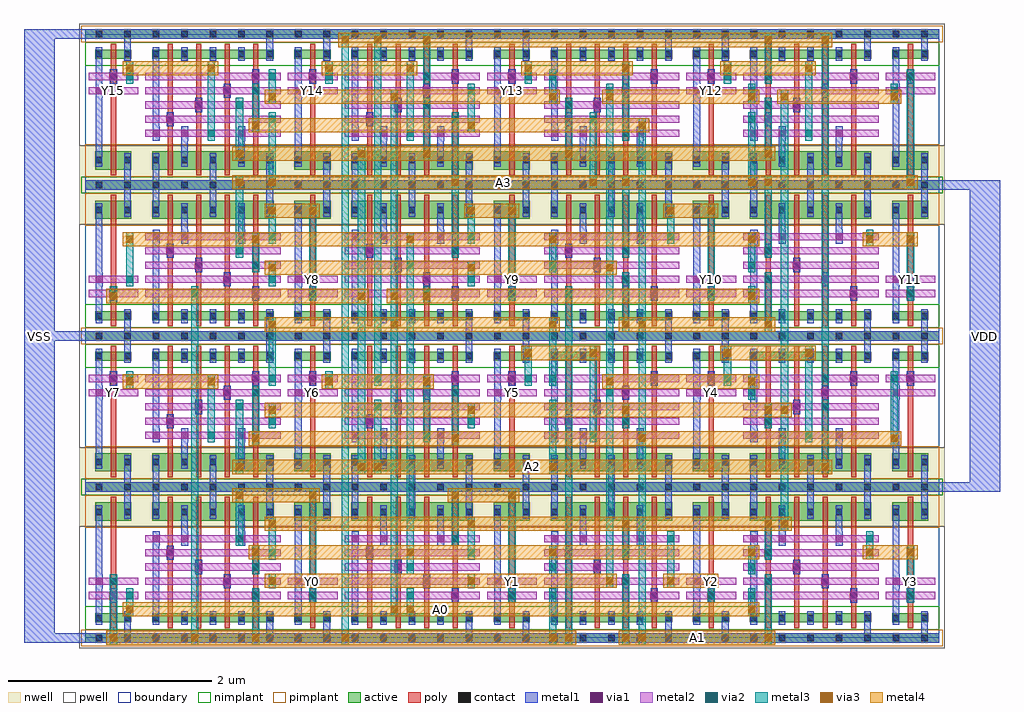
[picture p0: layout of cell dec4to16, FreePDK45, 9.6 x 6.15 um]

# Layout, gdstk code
import gdstk
lib = gdstk.Library(unit=1e-6, precision=5e-10)
def R(c, l, rs):  # rectangles x0, y0, x1, y1
    for r in rs: c.add(gdstk.rectangle(r[:2], r[2:], *l))
def A(c, l, x, y, w, h, nx, ny, dx, dy):  # array of equal rectangles
    R(c, l, [(x+i*dx, y+j*dy, x+i*dx+w, y+j*dy+h) for i in range(nx) for j in range(ny)])
active = (1, 0)
pwell = (2, 0)
nwell = (3, 0)
nimplant = (4, 0)
pimplant = (5, 0)
poly = (9, 0)
contact = (10, 0)
metal1 = (11, 0)
via1 = (12, 0)
metal2 = (13, 0)
via2 = (14, 0)
metal3 = (15, 0)
via3 = (16, 0)
metal4 = (17, 0)
boundary = (235, 0)

inv = lib.new_cell('inv')
R(inv, active, [(0,-0.05,0.56,0.045), (0.1,0.15,0.455,0.24), (0.1,1.15,0.455,1.33), (0,1.435,0.56,1.53)])
R(inv, pwell, [(-0.055,-0.105,0.615,1.095)])
R(inv, nwell, [(-0.055,1.095,0.615,1.585)])
R(inv, nimplant, [(0,0.08,0.56,0.31), (-0.035,1.4,0.595,1.565)])
R(inv, pimplant, [(-0.035,-0.085,0.595,0.08), (0,1.08,0.56,1.4)])
R(inv, poly, [(0.255,0.095,0.305,0.295), (0.255,0.295,0.305,1.095), (0.24,0.375,0.315,0.45), (0.255,1.095,0.305,1.385)])
R(inv, contact, [(0.105,-0.035,0.17,0.03), (0.385,-0.035,0.45,0.03), (0.105,0.16,0.17,0.225), (0.385,0.16,0.45,0.225), (0.245,0.38,0.31,0.445), (0.105,1.205,0.17,1.27), (0.385,1.205,0.45,1.27), (0.105,1.45,0.17,1.515), (0.385,1.45,0.45,1.515)])
R(inv, metal1, [(0,-0.05,0.56,0.045), (0.385,0,0.45,0.125), (0.105,0.125,0.17,0.26), (0.385,0.125,0.45,0.26), (0.105,0.26,0.17,0.555), (0.245,0.345,0.315,0.485), (0.105,0.485,0.175,0.625), (0.105,0.485,0.175,0.625), (0.105,0.555,0.17,1.17), (0.105,1.17,0.17,1.305), (0.385,1.17,0.45,1.305), (0.385,1.305,0.45,1.485), (0,1.435,0.56,1.53)])
R(inv, via1, [(0.245,0.38,0.315,0.45), (0.105,0.52,0.175,0.59), (0.105,0.52,0.175,0.59)])
R(inv, metal2, [(0.035,0.38,0.525,0.45), (0.21,0.38,0.35,0.45), (0.035,0.52,0.525,0.59), (0.07,0.52,0.21,0.59), (0.07,0.52,0.21,0.59)])
R(inv, boundary, [(0,0,0.56,1.485)])
inv.add(gdstk.Label('VSS', (0.28,-0.003), layer=11, texttype=1))
inv.add(gdstk.Label('VDD', (0.28,1.482), layer=11, texttype=1))
inv.add(gdstk.Label('Y', (0.28,0.555), layer=13, texttype=1))
inv.add(gdstk.Label('A', (0.28,0.415), layer=13, texttype=1))

nand4 = lib.new_cell('nand4')
R(nand4, active, [(0,-0.05,1.4,0.045), (0.1,0.15,1.295,0.24), (0.1,1.15,1.295,1.33), (0,1.435,1.4,1.53)])
R(nand4, pwell, [(-0.055,-0.105,1.455,1.095)])
R(nand4, nwell, [(-0.055,1.095,1.455,1.585)])
R(nand4, nimplant, [(0,0.08,1.4,0.31), (-0.035,1.4,1.435,1.565)])
R(nand4, pimplant, [(-0.035,-0.085,1.435,0.08), (0,1.08,1.4,1.4)])
A(nand4, poly, 0.255, 0.095, 0.05, 0.2, 4, 1, 0.28, 0)
A(nand4, poly, 0.255, 0.295, 0.05, 0.8, 4, 1, 0.28, 0)
A(nand4, poly, 0.255, 1.095, 0.05, 0.29, 4, 1, 0.28, 0)
R(nand4, poly, [(1.08,0.375,1.155,0.45), (0.8,0.515,0.875,0.59), (0.52,0.655,0.595,0.73), (0.24,0.795,0.315,0.87)])
A(nand4, contact, 0.105, -0.035, 0.065, 0.065, 5, 2, 0.28, 0.195)
A(nand4, contact, 0.105, 1.205, 0.065, 0.065, 5, 2, 0.28, 0.245)
R(nand4, contact, [(1.085,0.38,1.15,0.445), (0.805,0.52,0.87,0.585), (0.525,0.66,0.59,0.725), (0.245,0.8,0.31,0.865)])
A(nand4, metal1, 0.105, 0.125, 0.065, 0.135, 5, 2, 0.28, 1.045)
A(nand4, metal1, 0.105, 1.305, 0.065, 0.18, 3, 1, 0.56, 0)
R(nand4, metal1, [(0,-0.05,1.4,0.045), (1.225,0,1.29,0.125), (0.105,0.26,0.17,0.975), (1.085,0.345,1.155,0.485), (0.805,0.485,0.875,0.625), (0.525,0.625,0.595,0.765), (0.245,0.765,0.315,0.905), (0.105,0.905,0.175,1.045), (0.385,0.905,0.455,1.045), (0.945,0.905,1.015,1.045), (0.385,0.975,0.45,1.17), (0.945,0.975,1.01,1.17), (0,1.435,1.4,1.53)])
R(nand4, via1, [(1.085,0.38,1.155,0.45), (0.805,0.52,0.875,0.59), (0.525,0.66,0.595,0.73), (0.245,0.8,0.315,0.87), (0.105,0.94,0.175,1.01), (0.385,0.94,0.455,1.01), (0.945,0.94,1.015,1.01)])
A(nand4, metal2, 0.035, 0.38, 1.33, 0.07, 1, 5, 0, 0.14)
R(nand4, metal2, [(1.05,0.38,1.19,0.45), (0.77,0.52,0.91,0.59), (0.49,0.66,0.63,0.73), (0.21,0.8,0.35,0.87), (0.07,0.94,0.21,1.01), (0.35,0.94,0.49,1.01), (0.91,0.94,1.05,1.01)])
R(nand4, boundary, [(0,0,1.4,1.485)])
nand4.add(gdstk.Label('VSS', (0.7,-0.003), layer=11, texttype=1))
nand4.add(gdstk.Label('VDD', (0.7,1.482), layer=11, texttype=1))
nand4.add(gdstk.Label('Y', (0.7,0.975), layer=13, texttype=1))
nand4.add(gdstk.Label('D', (0.7,0.835), layer=13, texttype=1))
nand4.add(gdstk.Label('C', (0.7,0.695), layer=13, texttype=1))
nand4.add(gdstk.Label('B', (0.7,0.555), layer=13, texttype=1))
nand4.add(gdstk.Label('A', (0.7,0.415), layer=13, texttype=1))

dec4to16 = lib.new_cell('dec4to16')
A(dec4to16, metal1, -0.6, -0.05, 0.6, 0.095, 1, 3, 0, 2.97)
R(dec4to16, metal1, [(-0.6,-0.05,-0.3,5.985), (8.4,1.435,9,1.53), (8.7,1.435,9,4.5), (8.4,4.405,9,4.5)])
A(dec4to16, metal2, 1.45, 0.94, 0.14, 0.07, 3, 1, 2.12, 0)
A(dec4to16, metal2, 1.77, 3.91, 0.14, 0.07, 4, 1, 1.96, 0)
A(dec4to16, metal2, 5.09, 5.345, 0.14, 0.07, 3, 1, 1.4, 0)
R(dec4to16, metal2, [(0.37,0.38,0.51,0.45), (1.61,0.38,1.75,0.45), (2.17,0.38,2.31,0.45), (3.13,0.38,3.27,0.45), (4.13,0.38,4.27,0.45), (4.53,0.38,4.67,0.45), (6.09,0.38,6.23,0.45), (6.49,0.38,6.63,0.45), (8.05,0.38,8.19,0.45), (0.21,0.52,0.35,0.59), (1.77,0.52,1.91,0.59), (3.73,0.52,3.87,0.59), (5.25,0.52,5.39,0.59), (6.65,0.52,6.79,0.59), (1.61,0.66,1.75,0.73), (3.13,0.66,3.27,0.73), (4.53,0.66,4.67,0.73), (6.49,0.66,6.63,0.73), (1.77,0.8,1.91,0.87), (3.73,0.8,3.87,0.87), (5.25,0.8,5.39,0.87), (6.65,0.8,6.79,0.87), (7.65,0.94,7.79,1.01), (1.17,1.955,1.31,2.025), (3.29,1.955,3.43,2.025), (4.93,1.955,5.07,2.025), (7.05,1.955,7.19,2.025), (1.77,2.095,1.91,2.165), (3.73,2.095,3.87,2.165), (5.25,2.095,5.39,2.165), (6.65,2.095,6.79,2.165), (1.45,2.235,1.59,2.305), (2.81,2.235,2.95,2.305), (4.53,2.235,4.67,2.305), (7.21,2.235,7.35,2.305), (1.61,2.375,1.75,2.445), (3.57,2.375,3.71,2.445), (5.09,2.375,5.23,2.445), (6.49,2.375,6.63,2.445), (7.805,2.375,7.875,2.445), (0.37,2.515,0.51,2.585), (1.77,2.515,1.91,2.585), (2.33,2.515,2.47,2.585), (2.81,2.515,2.95,2.585), (4.29,2.515,4.43,2.585), (4.53,2.515,4.67,2.585), (6.25,2.515,6.39,2.585), (7.21,2.515,7.35,2.585), (7.89,2.515,8.03,2.585), (0.21,3.35,0.35,3.42), (1.01,3.35,1.15,3.42), (2.17,3.35,2.31,3.42), (3.29,3.35,3.43,3.42), (4.13,3.35,4.27,3.42), (4.69,3.35,4.83,3.42), (6.09,3.35,6.23,3.42), (6.49,3.35,6.63,3.42), (8.05,3.35,8.19,3.42), (0.37,3.49,0.51,3.56), (1.77,3.49,1.91,3.56), (3.73,3.49,3.87,3.56), (5.25,3.49,5.39,3.56), (6.65,3.49,6.79,3.56), (1.61,3.63,1.75,3.7), (3.13,3.63,3.27,3.7), (4.53,3.63,4.67,3.7), (6.49,3.63,6.63,3.7), (1.45,3.77,1.59,3.84), (3.57,3.77,3.71,3.84), (5.25,3.77,5.39,3.84), (6.65,3.77,6.79,3.84), (1.17,4.925,1.31,4.995), (3.13,4.925,3.27,4.995), (5.25,4.925,5.39,4.995), (7.05,4.925,7.19,4.995), (1.77,5.065,1.91,5.135), (3.57,5.065,3.71,5.135), (4.93,5.065,5.07,5.135), (6.49,5.065,6.63,5.135), (1.45,5.205,1.59,5.275), (3.29,5.205,3.43,5.275), (4.69,5.205,4.83,5.275), (6.65,5.205,6.79,5.275), (1.61,5.345,1.75,5.415), (3.73,5.345,3.87,5.415), (0.37,5.485,0.51,5.555), (1.77,5.485,1.91,5.555), (2.33,5.485,2.47,5.555), (3.29,5.485,3.43,5.555), (4.29,5.485,4.43,5.555), (4.53,5.485,4.67,5.555), (6.25,5.485,6.39,5.555), (6.65,5.485,6.79,5.555), (8.05,5.485,8.19,5.555)])
A(dec4to16, via2, 1.485, 0.94, 0.07, 0.07, 3, 1, 2.12, 0)
A(dec4to16, via2, 1.805, 3.91, 0.07, 0.07, 4, 1, 1.96, 0)
A(dec4to16, via2, 5.125, 5.345, 0.07, 0.07, 3, 1, 1.4, 0)
R(dec4to16, via2, [(0.405,0.38,0.475,0.45), (1.645,0.38,1.715,0.45), (2.205,0.38,2.275,0.45), (3.165,0.38,3.235,0.45), (4.165,0.38,4.235,0.45), (4.565,0.38,4.635,0.45), (6.125,0.38,6.195,0.45), (6.525,0.38,6.595,0.45), (8.085,0.38,8.155,0.45), (0.245,0.52,0.315,0.59), (1.805,0.52,1.875,0.59), (3.765,0.52,3.835,0.59), (5.285,0.52,5.355,0.59), (6.685,0.52,6.755,0.59), (1.645,0.66,1.715,0.73), (3.165,0.66,3.235,0.73), (4.565,0.66,4.635,0.73), (6.525,0.66,6.595,0.73), (1.805,0.8,1.875,0.87), (3.765,0.8,3.835,0.87), (5.285,0.8,5.355,0.87), (6.685,0.8,6.755,0.87), (7.685,0.94,7.755,1.01), (1.205,1.955,1.275,2.025), (3.325,1.955,3.395,2.025), (4.965,1.955,5.035,2.025), (7.085,1.955,7.155,2.025), (1.805,2.095,1.875,2.165), (3.765,2.095,3.835,2.165), (5.285,2.095,5.355,2.165), (6.685,2.095,6.755,2.165), (1.485,2.235,1.555,2.305), (2.845,2.235,2.915,2.305), (4.565,2.235,4.635,2.305), (7.245,2.235,7.315,2.305), (1.645,2.375,1.715,2.445), (3.605,2.375,3.675,2.445), (5.125,2.375,5.195,2.445), (6.525,2.375,6.595,2.445), (0.405,2.515,0.475,2.585), (1.805,2.515,1.875,2.585), (2.365,2.515,2.435,2.585), (2.845,2.515,2.915,2.585), (4.325,2.515,4.395,2.585), (4.565,2.515,4.635,2.585), (6.285,2.515,6.355,2.585), (7.245,2.515,7.315,2.585), (7.925,2.515,7.995,2.585), (0.245,3.35,0.315,3.42), (1.045,3.35,1.115,3.42), (2.205,3.35,2.275,3.42), (3.325,3.35,3.395,3.42), (4.165,3.35,4.235,3.42), (4.725,3.35,4.795,3.42), (6.125,3.35,6.195,3.42), (6.525,3.35,6.595,3.42), (8.085,3.35,8.155,3.42), (0.405,3.49,0.475,3.56), (1.805,3.49,1.875,3.56), (3.765,3.49,3.835,3.56), (5.285,3.49,5.355,3.56), (6.685,3.49,6.755,3.56), (1.645,3.63,1.715,3.7), (3.165,3.63,3.235,3.7), (4.565,3.63,4.635,3.7), (6.525,3.63,6.595,3.7), (1.485,3.77,1.555,3.84), (3.605,3.77,3.675,3.84), (5.285,3.77,5.355,3.84), (6.685,3.77,6.755,3.84), (1.205,4.925,1.275,4.995), (3.165,4.925,3.235,4.995), (5.285,4.925,5.355,4.995), (7.085,4.925,7.155,4.995), (1.805,5.065,1.875,5.135), (3.605,5.065,3.675,5.135), (4.965,5.065,5.035,5.135), (6.525,5.065,6.595,5.135), (1.485,5.205,1.555,5.275), (3.325,5.205,3.395,5.275), (4.725,5.205,4.795,5.275), (6.685,5.205,6.755,5.275), (1.645,5.345,1.715,5.415), (3.765,5.345,3.835,5.415), (0.405,5.485,0.475,5.555), (1.805,5.485,1.875,5.555), (2.365,5.485,2.435,5.555), (3.325,5.485,3.395,5.555), (4.325,5.485,4.395,5.555), (4.565,5.485,4.635,5.555), (6.285,5.485,6.355,5.555), (6.685,5.485,6.755,5.555), (8.085,5.485,8.155,5.555)])
A(dec4to16, metal3, 1.485, 0.905, 0.07, 0.14, 3, 1, 2.12, 0)
A(dec4to16, metal3, 2.685, 3.29, 0.07, 0.14, 3, 1, 0.32, 0)
A(dec4to16, metal3, 2.205, 3.385, 0.07, 0.815, 3, 1, 1.96, 0)
A(dec4to16, metal3, 1.805, 3.875, 0.07, 0.14, 4, 1, 1.96, 0)
A(dec4to16, metal3, 1.805, 3.945, 0.07, 0.255, 3, 1, 1.96, 0)
A(dec4to16, metal3, 5.125, 5.31, 0.07, 0.14, 3, 1, 1.4, 0)
A(dec4to16, metal3, 5.125, 5.32, 0.07, 0.06, 3, 1, 1.4, 0)
A(dec4to16, metal3, 0.405, 5.52, 0.07, 0.08, 4, 1, 1.96, 0)
R(dec4to16, metal3, [(0.245,-0.07,0.315,0.07), (1.045,-0.07,1.115,0.07), (1.645,-0.07,1.715,0.07), (2.525,-0.07,2.595,0.07), (2.525,-0.07,2.595,0.07), (4.565,-0.07,4.635,0.07), (4.725,-0.07,4.795,0.07), (5.285,-0.07,5.355,0.07), (5.445,-0.07,5.515,0.07), (6.685,-0.07,6.755,0.07), (0.245,0,0.315,0.555), (1.045,0,1.115,3.385), (1.645,0,1.715,0.415), (2.525,0,2.595,5.88), (4.565,0,4.635,0.415), (4.725,0,4.795,3.385), (5.285,0,5.355,0.555), (5.445,0,5.515,5.04), (6.685,0,6.755,0.555), (0.405,0.21,0.475,0.35), (3.005,0.21,3.075,0.35), (3.165,0.21,3.235,0.35), (6.525,0.21,6.595,0.35), (0.405,0.28,0.475,0.415), (3.005,0.28,3.075,5.32), (3.165,0.28,3.235,0.415), (6.525,0.28,6.595,0.415), (0.405,0.345,0.475,0.485), (1.645,0.345,1.715,0.485), (2.205,0.345,2.275,0.485), (3.165,0.345,3.235,0.485), (4.165,0.345,4.235,0.485), (4.565,0.345,4.635,0.485), (6.125,0.345,6.195,0.485), (6.525,0.345,6.595,0.485), (8.085,0.345,8.155,0.485), (2.205,0.415,2.275,1.4), (4.165,0.415,4.235,1.4), (6.125,0.415,6.195,0.56), (8.085,0.415,8.155,0.84), (0.245,0.485,0.315,0.625), (1.805,0.485,1.875,0.625), (3.765,0.485,3.835,0.625), (5.285,0.485,5.355,0.625), (6.685,0.485,6.755,0.625), (1.805,0.49,1.875,0.63), (3.765,0.49,3.835,0.63), (5.125,0.49,5.195,0.63), (5.725,0.49,5.795,0.63), (6.125,0.49,6.195,0.63), (1.805,0.555,1.875,0.56), (3.765,0.555,3.835,0.56), (5.125,0.56,5.195,5.32), (5.725,0.56,5.795,0.975), (1.645,0.625,1.715,0.765), (3.165,0.625,3.235,0.765), (4.565,0.625,4.635,0.765), (6.525,0.625,6.595,0.765), (1.645,0.695,1.715,0.84), (3.165,0.695,3.235,0.84), (4.565,0.695,4.635,0.84), (6.525,0.695,6.595,0.84), (1.805,0.765,1.875,0.905), (3.765,0.765,3.835,0.905), (5.285,0.765,5.355,0.905), (6.685,0.765,6.755,0.905), (1.645,0.77,1.715,0.91), (3.165,0.77,3.235,0.91), (3.165,0.77,3.235,0.91), (4.565,0.77,4.635,0.91), (6.525,0.77,6.595,0.91), (7.685,0.77,7.755,0.91), (8.085,0.77,8.155,0.91), (1.805,0.835,1.875,1.12), (3.765,0.835,3.835,1.12), (5.285,0.835,5.355,1.12), (6.685,0.835,6.755,1.12), (3.165,0.84,3.235,3.92), (7.685,0.84,7.755,0.975), (7.685,0.905,7.755,1.045), (1.485,0.975,1.555,1.4), (3.605,0.975,3.675,1.4), (1.805,1.05,1.875,1.19), (3.765,1.05,3.835,1.19), (5.285,1.05,5.355,1.19), (6.685,1.05,6.755,1.19), (6.845,1.05,6.915,1.19), (6.845,1.12,6.915,5.32), (1.485,1.33,1.555,1.47), (2.205,1.33,2.275,1.47), (3.605,1.33,3.675,1.47), (4.165,1.33,4.235,1.47), (1.485,1.61,1.555,1.75), (2.685,1.61,2.755,1.75), (2.845,1.61,2.915,1.75), (4.565,1.61,4.635,1.75), (7.245,1.61,7.315,1.75), (1.485,1.68,1.555,2.27), (2.685,1.68,2.755,4.76), (2.845,1.68,2.915,2.27), (4.565,1.68,4.635,2.27), (7.245,1.68,7.315,2.27), (1.645,1.89,1.715,2.03), (3.605,1.89,3.675,2.03), (5.445,1.89,5.515,2.03), (7.925,1.89,7.995,2.03), (1.205,1.92,1.275,2.06), (3.325,1.92,3.395,2.06), (4.965,1.92,5.035,2.06), (7.085,1.92,7.155,2.06), (1.645,1.96,1.715,2.41), (3.605,1.96,3.675,2.41), (7.925,1.96,7.995,2.55), (1.205,1.99,1.275,2.52), (3.325,1.99,3.395,2.52), (4.965,1.99,5.035,2.8), (7.085,1.99,7.155,2.8), (1.805,2.06,1.875,2.2), (3.765,2.06,3.835,2.2), (5.285,2.06,5.355,2.2), (6.685,2.06,6.755,2.2), (1.805,2.13,1.875,2.24), (3.765,2.13,3.835,2.24), (5.285,2.13,5.355,2.24), (6.685,2.13,6.755,2.24), (1.805,2.17,1.875,2.31), (3.765,2.17,3.835,2.31), (5.285,2.17,5.355,2.31), (6.685,2.17,6.755,2.31), (6.845,2.17,6.915,2.31), (1.485,2.2,1.555,2.34), (2.845,2.2,2.915,2.34), (4.565,2.2,4.635,2.34), (7.245,2.2,7.315,2.34), (1.645,2.34,1.715,2.48), (3.605,2.34,3.675,2.48), (5.125,2.34,5.195,2.48), (6.525,2.34,6.595,2.48), (5.125,2.41,5.195,2.52), (6.525,2.41,6.595,2.52), (0.405,2.45,0.475,2.59), (1.205,2.45,1.275,2.59), (2.365,2.45,2.435,2.59), (3.325,2.45,3.395,2.59), (5.125,2.45,5.195,2.59), (5.125,2.45,5.195,2.59), (6.525,2.45,6.595,2.59), (0.405,2.48,0.475,2.62), (1.805,2.48,1.875,2.62), (2.365,2.48,2.435,2.62), (2.845,2.48,2.915,2.62), (4.325,2.48,4.395,2.62), (4.565,2.48,4.635,2.62), (6.285,2.48,6.355,2.62), (7.245,2.48,7.315,2.62), (7.925,2.48,7.995,2.62), (0.405,2.52,0.475,2.55), (2.365,2.52,2.435,2.55), (1.805,2.55,1.875,3.08), (2.845,2.55,2.915,5.88), (4.325,2.55,4.395,2.8), (4.565,2.55,4.635,3.08), (6.285,2.55,6.355,2.8), (7.245,2.55,7.315,5.88), (4.325,2.73,4.395,2.87), (4.965,2.73,5.035,2.87), (6.285,2.73,6.355,2.87), (7.085,2.73,7.155,2.87), (1.805,3.01,1.875,3.15), (3.005,3.01,3.075,3.15), (4.565,3.01,4.635,3.15), (5.285,3.01,5.355,3.15), (5.445,3.01,5.515,3.15), (6.685,3.01,6.755,3.15), (5.285,3.08,5.355,3.525), (6.685,3.08,6.755,3.525), (0.245,3.29,0.315,3.43), (6.525,3.29,6.595,3.43), (0.245,3.315,0.315,3.455), (1.045,3.315,1.115,3.455), (2.205,3.315,2.275,3.455), (3.325,3.315,3.395,3.455), (4.165,3.315,4.235,3.455), (4.725,3.315,4.795,3.455), (6.125,3.315,6.195,3.455), (6.525,3.315,6.595,3.455), (8.085,3.315,8.155,3.455), (0.245,3.36,0.315,3.385), (3.325,3.36,3.395,3.385), (6.525,3.36,6.595,3.385), (8.085,3.385,8.155,3.92), (0.405,3.455,0.475,3.595), (1.805,3.455,1.875,3.595), (3.765,3.455,3.835,3.595), (5.285,3.455,5.355,3.595), (6.685,3.455,6.755,3.595), (0.405,3.525,0.475,3.92), (1.805,3.525,1.875,3.64), (3.765,3.525,3.835,3.64), (1.805,3.57,1.875,3.71), (3.765,3.57,3.835,3.71), (5.125,3.57,5.195,3.71), (1.645,3.595,1.715,3.735), (3.165,3.595,3.235,3.735), (4.565,3.595,4.635,3.735), (6.525,3.595,6.595,3.735), (1.645,3.665,1.715,3.92), (3.165,3.665,3.235,3.92), (4.565,3.665,4.635,3.92), (6.525,3.665,6.595,3.92), (1.485,3.735,1.555,3.875), (3.605,3.735,3.675,3.875), (5.285,3.735,5.355,3.875), (6.685,3.735,6.755,3.875), (1.485,3.805,1.555,4.48), (3.605,3.805,3.675,4.48), (5.285,3.805,5.355,4.48), (6.685,3.805,6.755,4.48), (0.405,3.85,0.475,3.99), (1.645,3.85,1.715,3.99), (3.165,3.85,3.235,3.99), (3.165,3.85,3.235,3.99), (4.565,3.85,4.635,3.99), (6.525,3.85,6.595,3.99), (7.685,3.85,7.755,3.99), (8.085,3.85,8.155,3.99), (7.685,3.92,7.755,3.945), (1.805,4.13,1.875,4.27), (2.205,4.13,2.275,4.27), (3.765,4.13,3.835,4.27), (4.165,4.13,4.235,4.27), (5.725,4.13,5.795,4.27), (6.125,4.13,6.195,4.27), (1.485,4.41,1.555,4.55), (1.805,4.41,1.875,4.55), (3.605,4.41,3.675,4.55), (3.605,4.41,3.675,4.55), (4.965,4.41,5.035,4.55), (5.285,4.41,5.355,4.55), (5.285,4.41,5.355,4.55), (5.285,4.41,5.355,4.55), (6.525,4.41,6.595,4.55), (6.685,4.41,6.755,4.55), (8.085,4.41,8.155,4.55), (1.805,4.48,1.875,5.1), (3.605,4.48,3.675,5.1), (4.965,4.48,5.035,5.1), (6.525,4.48,6.595,5.1), (8.085,4.48,8.155,5.52), (1.485,4.69,1.555,4.83), (2.685,4.69,2.755,4.83), (3.325,4.69,3.395,4.83), (4.725,4.69,4.795,4.83), (6.685,4.69,6.755,4.83), (1.485,4.76,1.555,5.24), (3.325,4.76,3.395,5.24), (4.725,4.76,4.795,5.24), (6.685,4.76,6.755,5.24), (1.205,4.89,1.275,5.03), (3.165,4.89,3.235,5.03), (5.285,4.89,5.355,5.03), (7.085,4.89,7.155,5.03), (1.205,4.96,1.275,5.6), (3.165,4.96,3.235,5.6), (5.285,4.96,5.355,5.6), (7.085,4.96,7.155,5.6), (1.645,4.97,1.715,5.11), (3.765,4.97,3.835,5.11), (5.445,4.97,5.515,5.11), (1.805,5.03,1.875,5.17), (3.605,5.03,3.675,5.17), (4.965,5.03,5.035,5.17), (6.525,5.03,6.595,5.17), (1.645,5.04,1.715,5.38), (3.765,5.04,3.835,5.38), (1.485,5.17,1.555,5.31), (3.325,5.17,3.395,5.31), (4.725,5.17,4.795,5.31), (6.685,5.17,6.755,5.31), (1.805,5.25,1.875,5.39), (3.005,5.25,3.075,5.39), (4.565,5.25,4.635,5.39), (5.125,5.25,5.195,5.39), (5.125,5.25,5.195,5.39), (6.525,5.25,6.595,5.39), (6.845,5.25,6.915,5.39), (7.925,5.25,7.995,5.39), (1.645,5.31,1.715,5.45), (3.765,5.31,3.835,5.45), (1.805,5.32,1.875,5.52), (4.565,5.32,4.635,5.52), (0.405,5.45,0.475,5.59), (1.805,5.45,1.875,5.59), (2.365,5.45,2.435,5.59), (3.325,5.45,3.395,5.59), (4.325,5.45,4.395,5.59), (4.565,5.45,4.635,5.59), (6.285,5.45,6.355,5.59), (6.685,5.45,6.755,5.59), (8.085,5.45,8.155,5.59), (3.325,5.52,3.395,5.88), (6.685,5.52,6.755,5.88), (0.405,5.53,0.475,5.67), (1.205,5.53,1.275,5.67), (2.365,5.53,2.435,5.67), (3.165,5.53,3.235,5.67), (4.325,5.53,4.395,5.67), (5.285,5.53,5.355,5.67), (6.285,5.53,6.355,5.67), (7.085,5.53,7.155,5.67), (2.525,5.81,2.595,5.95), (2.525,5.81,2.595,5.95), (2.845,5.81,2.915,5.95), (3.325,5.81,3.395,5.95), (6.685,5.81,6.755,5.95), (7.245,5.81,7.315,5.95)])
A(dec4to16, via3, 4.565, -0.035, 0.07, 0.07, 1, 3, 0, 0.84)
A(dec4to16, via3, 5.285, -0.035, 0.07, 0.07, 1, 3, 0, 1.12)
A(dec4to16, via3, 6.685, -0.035, 0.07, 0.07, 1, 3, 0, 1.12)
A(dec4to16, via3, 1.805, 3.045, 0.07, 0.07, 1, 3, 0, 0.56)
A(dec4to16, via3, 2.685, 3.325, 0.07, 0.07, 3, 1, 0.32, 0)
A(dec4to16, via3, 6.525, 3.325, 0.07, 0.07, 1, 3, 0, 0.56)
R(dec4to16, via3, [(0.245,-0.035,0.315,0.035), (1.045,-0.035,1.115,0.035), (1.645,-0.035,1.715,0.035), (2.525,-0.035,2.595,0.035), (2.525,-0.035,2.595,0.035), (4.725,-0.035,4.795,0.035), (5.445,-0.035,5.515,0.035), (0.405,0.245,0.475,0.315), (3.005,0.245,3.075,0.315), (3.165,0.245,3.235,0.315), (6.525,0.245,6.595,0.315), (1.805,0.525,1.875,0.595), (3.765,0.525,3.835,0.595), (5.125,0.525,5.195,0.595), (5.725,0.525,5.795,0.595), (6.125,0.525,6.195,0.595), (1.645,0.805,1.715,0.875), (3.165,0.805,3.235,0.875), (3.165,0.805,3.235,0.875), (6.525,0.805,6.595,0.875), (7.685,0.805,7.755,0.875), (8.085,0.805,8.155,0.875), (1.805,1.085,1.875,1.155), (3.765,1.085,3.835,1.155), (6.845,1.085,6.915,1.155), (1.485,1.365,1.555,1.435), (2.205,1.365,2.275,1.435), (3.605,1.365,3.675,1.435), (4.165,1.365,4.235,1.435), (1.485,1.645,1.555,1.715), (2.685,1.645,2.755,1.715), (2.845,1.645,2.915,1.715), (7.245,1.645,7.315,1.715), (1.645,1.925,1.715,1.995), (3.605,1.925,3.675,1.995), (5.445,1.925,5.515,1.995), (7.925,1.925,7.995,1.995), (1.805,2.205,1.875,2.275), (3.765,2.205,3.835,2.275), (6.845,2.205,6.915,2.275), (0.405,2.485,0.475,2.555), (1.205,2.485,1.275,2.555), (2.365,2.485,2.435,2.555), (3.325,2.485,3.395,2.555), (5.125,2.485,5.195,2.555), (5.125,2.485,5.195,2.555), (6.525,2.485,6.595,2.555), (4.325,2.765,4.395,2.835), (4.965,2.765,5.035,2.835), (6.285,2.765,6.355,2.835), (7.085,2.765,7.155,2.835), (3.005,3.045,3.075,3.115), (4.565,3.045,4.635,3.115), (5.285,3.045,5.355,3.115), (5.445,3.045,5.515,3.115), (6.685,3.045,6.755,3.115), (0.245,3.325,0.315,3.395), (3.765,3.605,3.835,3.675), (5.125,3.605,5.195,3.675), (0.405,3.885,0.475,3.955), (1.645,3.885,1.715,3.955), (3.165,3.885,3.235,3.955), (3.165,3.885,3.235,3.955), (4.565,3.885,4.635,3.955), (7.685,3.885,7.755,3.955), (8.085,3.885,8.155,3.955), (2.205,4.165,2.275,4.235), (3.765,4.165,3.835,4.235), (4.165,4.165,4.235,4.235), (5.725,4.165,5.795,4.235), (6.125,4.165,6.195,4.235), (1.485,4.445,1.555,4.515), (1.805,4.445,1.875,4.515), (3.605,4.445,3.675,4.515), (3.605,4.445,3.675,4.515), (4.965,4.445,5.035,4.515), (5.285,4.445,5.355,4.515), (5.285,4.445,5.355,4.515), (5.285,4.445,5.355,4.515), (6.685,4.445,6.755,4.515), (8.085,4.445,8.155,4.515), (1.485,4.725,1.555,4.795), (2.685,4.725,2.755,4.795), (3.325,4.725,3.395,4.795), (4.725,4.725,4.795,4.795), (6.685,4.725,6.755,4.795), (1.645,5.005,1.715,5.075), (3.765,5.005,3.835,5.075), (5.445,5.005,5.515,5.075), (1.805,5.285,1.875,5.355), (3.005,5.285,3.075,5.355), (4.565,5.285,4.635,5.355), (5.125,5.285,5.195,5.355), (5.125,5.285,5.195,5.355), (6.525,5.285,6.595,5.355), (6.845,5.285,6.915,5.355), (7.925,5.285,7.995,5.355), (0.405,5.565,0.475,5.635), (1.205,5.565,1.275,5.635), (2.365,5.565,2.435,5.635), (3.165,5.565,3.235,5.635), (4.325,5.565,4.395,5.635), (5.285,5.565,5.355,5.635), (6.285,5.565,6.355,5.635), (7.085,5.565,7.155,5.635), (2.525,5.845,2.595,5.915), (2.525,5.845,2.595,5.915), (2.845,5.845,2.915,5.915), (3.325,5.845,3.395,5.915), (6.685,5.845,6.755,5.915), (7.245,5.845,7.315,5.915)])
A(dec4to16, metal4, 4.53, -0.07, 0.14, 0.14, 1, 3, 0, 0.84)
A(dec4to16, metal4, 5.25, -0.07, 0.14, 0.14, 1, 3, 0, 1.12)
A(dec4to16, metal4, 6.65, -0.07, 0.14, 0.14, 1, 3, 0, 1.12)
A(dec4to16, metal4, 1.77, 3.01, 0.14, 0.14, 1, 3, 0, 0.56)
A(dec4to16, metal4, 2.65, 3.29, 0.14, 0.14, 3, 1, 0.32, 0)
A(dec4to16, metal4, 6.49, 3.29, 0.14, 0.14, 1, 3, 0, 0.56)
A(dec4to16, metal4, 1.84, 4.13, 0.4, 0.14, 3, 1, 1.96, 0)
R(dec4to16, metal4, [(0.21,-0.07,0.35,0.07), (0.28,-0.07,4.6,0.07), (1.01,-0.07,1.15,0.07), (1.08,-0.07,4.76,0.07), (1.61,-0.07,1.75,0.07), (2.49,-0.07,2.63,0.07), (2.49,-0.07,2.63,0.07), (4.69,-0.07,4.83,0.07), (5.32,-0.07,6.72,0.07), (5.41,-0.07,5.55,0.07), (0.37,0.21,0.51,0.35), (0.44,0.21,6.56,0.35), (2.97,0.21,3.11,0.35), (3.13,0.21,3.27,0.35), (6.49,0.21,6.63,0.35), (1.77,0.49,1.91,0.63), (1.84,0.49,5.16,0.63), (3.73,0.49,3.87,0.63), (5.09,0.49,5.23,0.63), (5.69,0.49,5.83,0.63), (5.76,0.49,6.16,0.63), (6.09,0.49,6.23,0.63), (1.61,0.77,1.75,0.91), (1.68,0.77,6.56,0.91), (3.13,0.77,3.27,0.91), (3.13,0.77,3.27,0.91), (6.49,0.77,6.63,0.91), (7.65,0.77,7.79,0.91), (7.72,0.77,8.12,0.91), (8.05,0.77,8.19,0.91), (1.77,1.05,1.91,1.19), (1.84,1.05,6.88,1.19), (3.73,1.05,3.87,1.19), (6.81,1.05,6.95,1.19), (1.45,1.33,1.59,1.47), (1.52,1.33,2.24,1.47), (2.17,1.33,2.31,1.47), (3.57,1.33,3.71,1.47), (3.64,1.33,4.2,1.47), (4.13,1.33,4.27,1.47), (1.45,1.61,1.59,1.75), (1.52,1.61,7.28,1.75), (2.65,1.61,2.79,1.75), (2.81,1.61,2.95,1.75), (7.21,1.61,7.35,1.75), (1.61,1.89,1.75,2.03), (1.68,1.89,7.96,2.03), (3.57,1.89,3.71,2.03), (5.41,1.89,5.55,2.03), (7.89,1.89,8.03,2.03), (1.77,2.17,1.91,2.31), (1.84,2.17,6.88,2.31), (3.73,2.17,3.87,2.31), (6.81,2.17,6.95,2.31), (0.37,2.45,0.51,2.59), (0.44,2.45,1.24,2.59), (1.17,2.45,1.31,2.59), (2.33,2.45,2.47,2.59), (2.4,2.45,3.36,2.59), (3.29,2.45,3.43,2.59), (5.09,2.45,5.23,2.59), (5.09,2.45,5.23,2.59), (5.16,2.45,6.56,2.59), (6.49,2.45,6.63,2.59), (4.29,2.73,4.43,2.87), (4.36,2.73,5,2.87), (4.93,2.73,5.07,2.87), (6.25,2.73,6.39,2.87), (6.32,2.73,7.12,2.87), (7.05,2.73,7.19,2.87), (1.84,3.01,4.6,3.15), (2.97,3.01,3.11,3.15), (4.53,3.01,4.67,3.15), (5.25,3.01,5.39,3.15), (5.32,3.01,6.72,3.15), (5.41,3.01,5.55,3.15), (6.65,3.01,6.79,3.15), (0.21,3.29,0.35,3.43), (0.28,3.29,2.72,3.43), (3.04,3.29,6.56,3.43), (1.84,3.57,5.16,3.71), (3.73,3.57,3.87,3.71), (5.09,3.57,5.23,3.71), (0.37,3.85,0.51,3.99), (0.44,3.85,6.56,3.99), (1.61,3.85,1.75,3.99), (3.13,3.85,3.27,3.99), (3.13,3.85,3.27,3.99), (4.53,3.85,4.67,3.99), (7.65,3.85,7.79,3.99), (7.72,3.85,8.12,3.99), (8.05,3.85,8.19,3.99), (2.17,4.13,2.31,4.27), (3.73,4.13,3.87,4.27), (4.13,4.13,4.27,4.27), (5.69,4.13,5.83,4.27), (6.09,4.13,6.23,4.27), (1.45,4.41,1.59,4.55), (1.52,4.41,6.72,4.55), (1.77,4.41,1.91,4.55), (1.84,4.41,8.12,4.55), (3.57,4.41,3.71,4.55), (3.57,4.41,3.71,4.55), (4.93,4.41,5.07,4.55), (5.25,4.41,5.39,4.55), (5.25,4.41,5.39,4.55), (5.25,4.41,5.39,4.55), (6.65,4.41,6.79,4.55), (8.05,4.41,8.19,4.55), (1.45,4.69,1.59,4.83), (1.52,4.69,6.72,4.83), (2.65,4.69,2.79,4.83), (3.29,4.69,3.43,4.83), (4.69,4.69,4.83,4.83), (6.65,4.69,6.79,4.83), (1.61,4.97,1.75,5.11), (1.68,4.97,5.48,5.11), (3.73,4.97,3.87,5.11), (5.41,4.97,5.55,5.11), (1.77,5.25,1.91,5.39), (1.84,5.25,4.6,5.39), (2.97,5.25,3.11,5.39), (4.53,5.25,4.67,5.39), (5.09,5.25,5.23,5.39), (5.09,5.25,5.23,5.39), (5.16,5.25,6.56,5.39), (6.49,5.25,6.63,5.39), (6.81,5.25,6.95,5.39), (6.88,5.25,7.96,5.39), (7.89,5.25,8.03,5.39), (0.37,5.53,0.51,5.67), (0.44,5.53,1.24,5.67), (1.17,5.53,1.31,5.67), (2.33,5.53,2.47,5.67), (2.4,5.53,3.2,5.67), (3.13,5.53,3.27,5.67), (4.29,5.53,4.43,5.67), (4.36,5.53,5.32,5.67), (5.25,5.53,5.39,5.67), (6.25,5.53,6.39,5.67), (6.32,5.53,7.12,5.67), (7.05,5.53,7.19,5.67), (2.49,5.81,2.63,5.95), (2.49,5.81,2.63,5.95), (2.56,5.81,7.28,5.95), (2.56,5.81,6.72,5.95), (2.81,5.81,2.95,5.95), (3.29,5.81,3.43,5.95), (6.65,5.81,6.79,5.95), (7.21,5.81,7.35,5.95)])
dec4to16.add(gdstk.Reference(inv, (0,0)))
dec4to16.add(gdstk.Reference(nand4, (0.56,0)))
dec4to16.add(gdstk.Reference(inv, (1.96,0)))
dec4to16.add(gdstk.Reference(nand4, (2.52,0)))
dec4to16.add(gdstk.Reference(inv, (3.92,0)))
dec4to16.add(gdstk.Reference(nand4, (4.48,0)))
dec4to16.add(gdstk.Reference(inv, (5.88,0)))
dec4to16.add(gdstk.Reference(nand4, (6.44,0)))
dec4to16.add(gdstk.Reference(inv, (7.84,0)))
dec4to16.add(gdstk.Reference(inv, (0,2.965), x_reflection=True))
dec4to16.add(gdstk.Reference(nand4, (0.56,2.965), x_reflection=True))
dec4to16.add(gdstk.Reference(inv, (1.96,2.965), x_reflection=True))
dec4to16.add(gdstk.Reference(nand4, (2.52,2.965), x_reflection=True))
dec4to16.add(gdstk.Reference(inv, (3.92,2.965), x_reflection=True))
dec4to16.add(gdstk.Reference(nand4, (4.48,2.965), x_reflection=True))
dec4to16.add(gdstk.Reference(inv, (5.88,2.965), x_reflection=True))
dec4to16.add(gdstk.Reference(nand4, (6.44,2.965), x_reflection=True))
dec4to16.add(gdstk.Reference(inv, (7.84,2.965), x_reflection=True))
dec4to16.add(gdstk.Reference(inv, (0,2.97)))
dec4to16.add(gdstk.Reference(nand4, (0.56,2.97)))
dec4to16.add(gdstk.Reference(inv, (1.96,2.97)))
dec4to16.add(gdstk.Reference(nand4, (2.52,2.97)))
dec4to16.add(gdstk.Reference(inv, (3.92,2.97)))
dec4to16.add(gdstk.Reference(nand4, (4.48,2.97)))
dec4to16.add(gdstk.Reference(inv, (5.88,2.97)))
dec4to16.add(gdstk.Reference(nand4, (6.44,2.97)))
dec4to16.add(gdstk.Reference(inv, (7.84,2.97)))
dec4to16.add(gdstk.Reference(inv, (0,5.935), x_reflection=True))
dec4to16.add(gdstk.Reference(nand4, (0.56,5.935), x_reflection=True))
dec4to16.add(gdstk.Reference(inv, (1.96,5.935), x_reflection=True))
dec4to16.add(gdstk.Reference(nand4, (2.52,5.935), x_reflection=True))
dec4to16.add(gdstk.Reference(inv, (3.92,5.935), x_reflection=True))
dec4to16.add(gdstk.Reference(nand4, (4.48,5.935), x_reflection=True))
dec4to16.add(gdstk.Reference(inv, (5.88,5.935), x_reflection=True))
dec4to16.add(gdstk.Reference(nand4, (6.44,5.935), x_reflection=True))
dec4to16.add(gdstk.Reference(inv, (7.84,5.935), x_reflection=True))
dec4to16.add(gdstk.Label('VSS', (-0.45,2.967), layer=11, texttype=1))
dec4to16.add(gdstk.Label('VDD', (8.85,2.967), layer=11, texttype=1))
dec4to16.add(gdstk.Label('Y0', (2.24,0.555), layer=13, texttype=1))
dec4to16.add(gdstk.Label('Y1', (4.2,0.555), layer=13, texttype=1))
dec4to16.add(gdstk.Label('Y10', (6.16,3.525), layer=13, texttype=1))
dec4to16.add(gdstk.Label('Y11', (8.12,3.525), layer=13, texttype=1))
dec4to16.add(gdstk.Label('Y12', (6.16,5.38), layer=13, texttype=1))
dec4to16.add(gdstk.Label('Y13', (4.2,5.38), layer=13, texttype=1))
dec4to16.add(gdstk.Label('Y14', (2.24,5.38), layer=13, texttype=1))
dec4to16.add(gdstk.Label('Y15', (0.28,5.38), layer=13, texttype=1))
dec4to16.add(gdstk.Label('Y2', (6.16,0.555), layer=13, texttype=1))
dec4to16.add(gdstk.Label('Y3', (8.12,0.555), layer=13, texttype=1))
dec4to16.add(gdstk.Label('Y4', (6.16,2.41), layer=13, texttype=1))
dec4to16.add(gdstk.Label('Y5', (4.2,2.41), layer=13, texttype=1))
dec4to16.add(gdstk.Label('Y6', (2.24,2.41), layer=13, texttype=1))
dec4to16.add(gdstk.Label('Y7', (0.28,2.41), layer=13, texttype=1))
dec4to16.add(gdstk.Label('Y8', (2.24,3.525), layer=13, texttype=1))
dec4to16.add(gdstk.Label('Y9', (4.2,3.525), layer=13, texttype=1))
dec4to16.add(gdstk.Label('A0', (3.5,0.28), layer=17, texttype=1))
dec4to16.add(gdstk.Label('A1', (6.02,0), layer=17, texttype=1))
dec4to16.add(gdstk.Label('A2', (4.4,1.68), layer=17, texttype=1))
dec4to16.add(gdstk.Label('A3', (4.12,4.48), layer=17, texttype=1))

lib.write_gds('dec4to16.gds')
